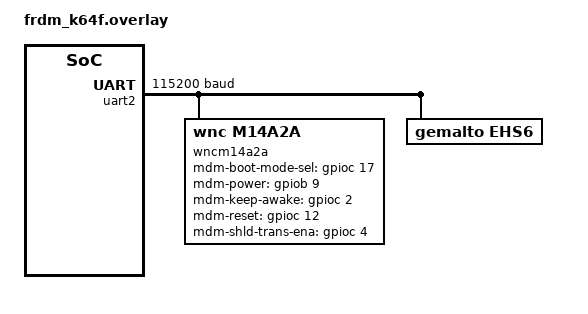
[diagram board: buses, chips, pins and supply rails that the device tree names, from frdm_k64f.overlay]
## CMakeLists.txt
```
# SPDX-License-Identifier: Apache-2.0

cmake_minimum_required(VERSION 3.28.0)
find_package(Zephyr REQUIRED HINTS $ENV{ZEPHYR_BASE})
project(lwm2m_client)

FILE(GLOB app_sources src/*.c)
target_sources(app PRIVATE ${app_sources})

include(${ZEPHYR_BASE}/samples/net/common/common.cmake)
```

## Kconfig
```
# Private config options for LwM2M client sample

# Copyright (c) 2023 NordicNordic Semiconductor ASA
# SPDX-License-Identifier: Apache-2.0

mainmenu "LwM2M Client sample"

config NET_SAMPLE_LWM2M_ID
	string "LwM2M Client identity"
	default ""
	help
	  This is used as client endpoint name as well as PSK ID.
	  Leave empty for using CONFIG_BOARD

if LWM2M_DTLS_SUPPORT
config NET_SAMPLE_LWM2M_PSK
	string "PSK key"
	default "000102030405060708090a0b0c0d0e0f"
	help
	  PSK key as a hex string.
	  Maximum binary size is CONFIG_LWM2M_SECURITY_KEY_SIZE.

config NET_SAMPLE_LWM2M_TLS_TAG
	int "TLS security tag"
	default 1
	help
	  TLS security tag to use when connecting.
endif

config NET_SAMPLE_MIGHT_HAVE_INTERNET
	bool
	default y if (WIFI || MODEM)

config NET_SAMPLE_LWM2M_SERVER
	string "LwM2M server address"
	default "coap://leshan.eclipseprojects.io:5683" if (NET_SAMPLE_MIGHT_HAVE_INTERNET && !LWM2M_DTLS_SUPPORT)
	default "coaps://leshan.eclipseprojects.io:5684" if (NET_SAMPLE_MIGHT_HAVE_INTERNET && LWM2M_DTLS_SUPPORT)
	default "coap://192.0.2.2:5683" if !LWM2M_DTLS_SUPPORT
	default "coaps://192.0.2.2:5684" if (LWM2M_DTLS_SUPPORT && !LWM2M_RD_CLIENT_SUPPORT_BOOTSTRAP)
	default "coaps://192.0.2.2:5784" if (LWM2M_DTLS_SUPPORT && LWM2M_RD_CLIENT_SUPPORT_BOOTSTRAP)
	help
	  LwM2M server address. Write as a full URI including optional port number.
	  Only accepted protocols are "coap://" and "coaps://"
	  When DNS resolver is enabled, DNS domain names could be used as well.
	  When port number is missing, CONFIG_LWM2M_PEER_PORT is used instead.
	  IPv6 addresses must be enclosed in square brackets, for example "coap://[fd00::1]".

config NET_SAMPLE_LWM2M_WAIT_DNS
	bool "Wait DNS server addition before considering connection to be up"
	depends on (MODEM_HL7800 || MODEM_HL78XX) && !DNS_SERVER_IP_ADDRESSES
	help
	  Make sure we get DNS server addresses from the network
	  before considering the connection to be up.

config NET_SAMPLE_LWM2M_NTN_MODE
	bool "Enable NTN (Non-Terrestrial Network / Satellite) mode"
	depends on LWM2M_DTLS_SUPPORT
	help
	  Enable this option when using satellite/NTN connectivity.
	  NTN has very high latency (10-15+ seconds RTT), so this
	  option applies extended DTLS handshake timeout settings
	  to accommodate the latency.

if NET_SAMPLE_LWM2M_NTN_MODE

config NET_SAMPLE_LWM2M_NTN_DTLS_HANDSHAKE_TIMEOUT_MIN_MS
	int "NTN DTLS handshake min timeout (ms)"
	default 20000
	range 1000 600000
	help
	  Initial DTLS retransmission timeout in milliseconds for NTN mode.

config NET_SAMPLE_LWM2M_NTN_DTLS_HANDSHAKE_TIMEOUT_MAX_MS
	int "NTN DTLS handshake max timeout (ms)"
	default 120000
	range 1000 600000
	help
	  Maximum DTLS retransmission timeout in milliseconds for NTN mode.

endif

source "samples/net/common/Kconfig"
source "Kconfig.zephyr"
```

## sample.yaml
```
sample:
  description: TBD
  name: TBD
tests:
  sample.net.lwm2m_client:
    harness: net
    depends_on: netif
    platform_allow:
      - qemu_x86
      - frdm_k64f
      - pinnacle_100_dvk
      - mg100
      - native_sim
    integration_platforms:
      - qemu_x86
    tags:
      - net
      - lwm2m
  sample.net.lwm2m_client.all_objects:
    harness: net
    depends_on: netif
    platform_allow:
      - qemu_x86
      - native_sim
    integration_platforms:
      - qemu_x86
    tags:
      - net
      - lwm2m
    extra_configs:
      - CONFIG_LWM2M_CONN_MON_OBJ_SUPPORT=y
      - CONFIG_LWM2M_LOCATION_OBJ_SUPPORT=y
      - CONFIG_LWM2M_IPSO_ACCELEROMETER=y
      - CONFIG_LWM2M_IPSO_BUZZER=y
      - CONFIG_LWM2M_IPSO_ONOFF_SWITCH=y
      - CONFIG_LWM2M_IPSO_PUSH_BUTTON=y
      - CONFIG_LWM2M_IPSO_GENERIC_SENSOR=y
      - CONFIG_LWM2M_IPSO_HUMIDITY_SENSOR=y
      - CONFIG_LWM2M_IPSO_PRESSURE_SENSOR=y
  sample.net.lwm2m_client.dtls:
    harness: net
    depends_on: netif
    extra_args: EXTRA_CONF_FILE=overlay-dtls.conf
    platform_allow:
      - qemu_x86
      - frdm_k64f
      - pinnacle_100_dvk
      - mg100
      - native_sim
    integration_platforms:
      - qemu_x86
    tags:
      - net
      - lwm2m
  sample.net.lwm2m_client.dtls_cert:
    harness: net
    depends_on: netif
    extra_args: EXTRA_CONF_FILE=overlay-dtls-cert.conf
    platform_allow:
      - qemu_x86
      - native_sim
    integration_platforms:
      - qemu_x86
    tags:
      - net
      - lwm2m
  sample.net.lwm2m_client.queue_mode:
    harness: net
    depends_on: netif
    extra_args: EXTRA_CONF_FILE=overlay-queue.conf
    platform_allow:
      - qemu_x86
      - native_sim
    integration_platforms:
      - qemu_x86
    tags:
      - net
      - lwm2m
  sample.net.lwm2m_client.data_cache:
    harness: net
    depends_on: netif
    extra_args: EXTRA_CONF_FILE=overlay-data-cache.conf
    platform_allow:
      - qemu_x86
      - native_sim
    integration_platforms:
      - qemu_x86
    tags:
      - net
      - lwm2m
  sample.net.lwm2m_client.send_scheduler:
    harness: net
    depends_on: netif
    extra_args: EXTRA_CONF_FILE=overlay-send-scheduler.conf
    platform_allow:
      - qemu_x86
      - native_sim
    integration_platforms:
      - qemu_x86
    tags:
      - net
      - lwm2m
  sample.net.lwm2m_client.wnc_m14a2a:
    harness: net
    extra_args: SHIELD=wnc_m14a2a
    platform_allow:
      - frdm_k64f
      - nrf52840dk/nrf52840
    integration_platforms:
      - frdm_k64f
    tags:
      - net
      - lwm2m
```

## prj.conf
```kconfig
CONFIG_NETWORKING=y
CONFIG_LOG=y
CONFIG_GPIO=y
CONFIG_LWM2M_LOG_LEVEL_DBG=y
CONFIG_TEST_RANDOM_GENERATOR=y
CONFIG_NET_IPV6=y
CONFIG_NET_IF_UNICAST_IPV6_ADDR_COUNT=3
CONFIG_NET_IF_MCAST_IPV6_ADDR_COUNT=3
CONFIG_NET_IPV4=y
CONFIG_NET_DHCPV4=n
CONFIG_NET_IF_UNICAST_IPV4_ADDR_COUNT=3
CONFIG_NET_IF_MCAST_IPV4_ADDR_COUNT=2
CONFIG_PRINTK=y
CONFIG_NET_PKT_RX_COUNT=10
CONFIG_NET_PKT_TX_COUNT=10
CONFIG_NET_BUF_RX_COUNT=10
CONFIG_NET_BUF_TX_COUNT=10
CONFIG_NET_MAX_CONTEXTS=5

CONFIG_NET_LOG=y

CONFIG_NET_CONFIG_NEED_IPV6=y
CONFIG_NET_CONFIG_NEED_IPV4=y
CONFIG_NET_CONFIG_SETTINGS=y

CONFIG_LWM2M=y
CONFIG_LWM2M_COAP_BLOCK_SIZE=512
CONFIG_LWM2M_IPSO_SUPPORT=y
CONFIG_LWM2M_IPSO_TEMP_SENSOR=y
CONFIG_LWM2M_IPSO_LIGHT_CONTROL=y
CONFIG_LWM2M_IPSO_TIMER=y
CONFIG_LWM2M_SHELL=y

CONFIG_NET_CONFIG_MY_IPV6_ADDR="2001:db8::1"
CONFIG_NET_CONFIG_PEER_IPV6_ADDR="2001:db8::2"
CONFIG_NET_CONFIG_MY_IPV4_ADDR="192.0.2.1"
CONFIG_NET_CONFIG_MY_IPV4_GW="192.0.2.2"

# Longer endpoint name might be returned in a registration reply
CONFIG_COAP_EXTENDED_OPTIONS_LEN=y
CONFIG_COAP_EXTENDED_OPTIONS_LEN_VALUE=40
```

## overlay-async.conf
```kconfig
CONFIG_LWM2M_ASYNC_RESPONSES=y
CONFIG_LWM2M_IPSO_GENERIC_SENSOR=y
```

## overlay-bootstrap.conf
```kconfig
CONFIG_LWM2M_RD_CLIENT_SUPPORT_BOOTSTRAP=y
```

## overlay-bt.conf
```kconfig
CONFIG_BT=y
CONFIG_LOG=y
CONFIG_BT_SMP=y
CONFIG_BT_PERIPHERAL=y
CONFIG_BT_CENTRAL=y
CONFIG_BT_L2CAP_DYNAMIC_CHANNEL=y
CONFIG_BT_DEVICE_NAME="LwM2M IPSP node"
CONFIG_NET_L2_BT=y
CONFIG_NET_CONFIG_BT_NODE=y

# raise bluetooth RX buffer settings for 6lowpan traffic
CONFIG_BT_BUF_ACL_RX_COUNT=20
CONFIG_BT_BUF_ACL_RX_SIZE=124
```

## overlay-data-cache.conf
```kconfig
CONFIG_ZCBOR=y
CONFIG_ZCBOR_CANONICAL=y
CONFIG_LWM2M_RW_SENML_CBOR_SUPPORT=y
CONFIG_LWM2M_RESOURCE_DATA_CACHE_SUPPORT=y
```

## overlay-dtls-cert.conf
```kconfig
CONFIG_LWM2M_DTLS_SUPPORT=y
CONFIG_LWM2M_PEER_PORT=5684

# I need room to store certificates
CONFIG_LWM2M_SECURITY_KEY_SIZE=2048

# Select Zephyr mbedtls
CONFIG_MBEDTLS=y
CONFIG_MBEDTLS_SSL_PROTO_TLS1_2=y

# Special MbedTLS changes
CONFIG_MBEDTLS_ENABLE_HEAP=y
CONFIG_MBEDTLS_HEAP_SIZE=32768
CONFIG_MBEDTLS_SSL_IN_CONTENT_LEN=1500
CONFIG_MBEDTLS_SSL_OUT_CONTENT_LEN=1500
CONFIG_PSA_WANT_KEY_TYPE_AES=y
CONFIG_PSA_WANT_ALG_CCM=y
CONFIG_PSA_WANT_ALG_GCM=y

# Disable RSA, use only ECC certificates
CONFIG_MBEDTLS_CIPHERSUITE_TLS_ECDHE_ECDSA_WITH_AES_128_GCM_SHA256=y
CONFIG_MBEDTLS_CIPHERSUITE_TLS_PSK_WITH_AES_128_GCM_SHA256=y

# Optional: we could use just binary DER certificates
CONFIG_MBEDTLS_PEM_PARSE_C=y
CONFIG_MBEDTLS_PEM_WRITE_C=y

CONFIG_NET_SOCKETS_SOCKOPT_TLS=y
CONFIG_NET_SOCKETS_TLS_MAX_CONTEXTS=4
CONFIG_NET_SOCKETS_ENABLE_DTLS=y

# MbedTLS needs a larger stack
CONFIG_MAIN_STACK_SIZE=2048
CONFIG_SYSTEM_WORKQUEUE_STACK_SIZE=2048
```

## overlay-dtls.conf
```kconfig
# Enable DTLS with Connection Identifier
CONFIG_LWM2M_DTLS_SUPPORT=y
CONFIG_LWM2M_DTLS_CID=y
CONFIG_LWM2M_PEER_PORT=5684

# Select Zephyr mbedtls
CONFIG_MBEDTLS=y
CONFIG_MBEDTLS_SSL_PROTO_TLS1_2=y
CONFIG_MBEDTLS_SSL_DTLS_CONNECTION_ID=y

# Special MbedTLS changes
CONFIG_MBEDTLS_ENABLE_HEAP=y
CONFIG_MBEDTLS_HEAP_SIZE=8192
CONFIG_MBEDTLS_SSL_IN_CONTENT_LEN=1500
CONFIG_MBEDTLS_SSL_OUT_CONTENT_LEN=1500
# PSA Crypto support for CCM
CONFIG_PSA_WANT_ALG_CCM=y
CONFIG_MBEDTLS_CIPHERSUITE_TLS_PSK_WITH_AES_128_GCM_SHA256=y

CONFIG_NET_SOCKETS_SOCKOPT_TLS=y
CONFIG_NET_SOCKETS_TLS_MAX_CONTEXTS=4
CONFIG_NET_SOCKETS_ENABLE_DTLS=y

# MbedTLS needs a larger stack
CONFIG_MAIN_STACK_SIZE=2048
CONFIG_SYSTEM_WORKQUEUE_STACK_SIZE=2048

# This has to be match length of LWM2M_APP_ID and if LWM2M_APP_ID is empty,
# then this has to be match length of CONFIG_BOARD. Default 16 is not enough
# for some boards, so, increase it to 32.
CONFIG_LWM2M_SECURITY_KEY_SIZE=32

# Debug options
# CONFIG_NET_SOCKETS_LOG_LEVEL_DBG=y
# CONFIG_MBEDTLS_DEBUG=y
# CONFIG_MBEDTLS_LOG_LEVEL_DBG=y
# CONFIG_MBEDTLS_MEMORY_DEBUG=y
# CONFIG_MBEDTLS_SHELL=y
```

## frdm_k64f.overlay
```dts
/*
 * Copyright (c) 2018 Intel Corporation
 *
 * SPDX-License-Identifier: Apache-2.0
 */
&uart2 {
	current-speed = <115200>;
	hw-flow-control;
	status = "ok";

	wncm14a2a {
		compatible = "wnc,m14a2a";
		label = "wncm14a2a";
		mdm-boot-mode-sel-gpios = <&gpioc 17 0>;
		mdm-power-gpios = <&gpiob 9 0>;
		mdm-keep-awake-gpios = <&gpioc 2 0>;
		mdm-reset-gpios = <&gpioc 12 0>;
		mdm-shld-trans-ena-gpios = <&gpioc 4 0>;
		status = "ok";
	};

	ehs6 {
		compatible = "gemalto,ehs6";
		label = "EHS6";
		status = "ok";
	};
};
```

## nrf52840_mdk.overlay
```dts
/*
 * Copyright (c) 2018 Linaro Limited
 *
 * SPDX-License-Identifier: Apache-2.0
 */

&uart1 {
	current-speed = <115200>;
	status = "ok";
	tx-pin = <16>;
	rx-pin = <15>;
	rts-pin = <14>;
	cts-pin = <17>;

	wncm14a2a {
		compatible = "wnc,m14a2a";
		label = "wncm14a2a";
		mdm-boot-mode-sel-gpios = <&gpio1 2 0>;
		mdm-power-gpios = <&gpio1 3 0>;
		mdm-keep-awake-gpios = <&gpio1 7 0>;
		mdm-reset-gpios = <&gpio1 10 0>;
		mdm-shld-trans-ena-gpios = <&gpio1 11 0>;
		status = "ok";
	};
};
```

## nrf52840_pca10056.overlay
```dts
/*
 * Copyright (c) 2018 Linaro Limited
 *
 * SPDX-License-Identifier: Apache-2.0
 */

&uart1 {
	current-speed = <115200>;
	status = "ok";
	tx-pin = <46>;
	rx-pin = <45>;
	rts-pin = <44>;
	cts-pin = <47>;

	wncm14a2a {
		compatible = "wnc,m14a2a";
		label = "wncm14a2a";
		mdm-boot-mode-sel-gpios = <&gpio1 2 0>;
		mdm-power-gpios = <&gpio1 3 0>;
		mdm-keep-awake-gpios = <&gpio1 7 0>;
		mdm-reset-gpios = <&gpio1 10 0>;
		mdm-shld-trans-ena-gpios = <&gpio1 11 0>;
		status = "ok";
	};
};
```

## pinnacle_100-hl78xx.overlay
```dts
/delete-node/ &hl7800;

/ {
	aliases {
		modem-uart = &uart1;
		modem = &hl7800;
		gnss = &gnss;
	};
};

&uart1 {
	hl7800: hl7800 {
		compatible = "swir,hl7800";
		mdm-reset-gpios = <&gpio1 15 (GPIO_OPEN_DRAIN | GPIO_ACTIVE_LOW)>;
		mdm-wake-gpios = <&gpio1 13 (GPIO_OPEN_SOURCE | GPIO_ACTIVE_HIGH)>;
		mdm-pwr-on-gpios = <&gpio1 2 (GPIO_OPEN_DRAIN | GPIO_ACTIVE_LOW)>;
		mdm-fast-shutd-gpios = <&gpio1 14 (GPIO_OPEN_DRAIN | GPIO_ACTIVE_LOW)>;
		mdm-vgpio-gpios = <&gpio1 11 0>;
		mdm-uart-dsr-gpios = <&gpio0 25 0>;
		mdm-uart-cts-gpios = <&gpio0 15 0>;
		mdm-gpio6-gpios = <&gpio1 12 0>;
		status = "okay";

		socket_offload: socket_offload {
			compatible = "swir,hl7812-offload";
			/* optional properties for future: */
			max-data-length = <512>;
			status = "okay";
		};

		gnss: hl_gnss {
			compatible = "swir,hl7812-gnss";
			pps-mode = "GNSS_PPS_MODE_DISABLED";
			fix-rate = <1000>;
			status = "disabled";
		};
	};
};
```

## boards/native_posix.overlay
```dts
/*
 * Copyright (c) 2019 Jan Van Winkel <jan.van_winkel@dxplore.eu>
 *
 * SPDX-License-Identifier: Apache-2.0
 */

&flash0 {

	partitions {
		compatible = "fixed-partitions";
		#address-cells = <1>;
		#size-cells = <1>;

		lwm2m_notif_storage: partition@100000 {
			label = "lwm2m_notif_storage";
			reg = <0x00100000 0x10000>;
		};
	};
};
```

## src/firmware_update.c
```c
/*
 * Copyright (c) 2022 Nordic Semiconductor
 *
 * SPDX-License-Identifier: Apache-2.0
 */

#define LOG_MODULE_NAME app_fw_update
#include <zephyr/logging/log.h>
LOG_MODULE_REGISTER(LOG_MODULE_NAME);

#include <zephyr/net/lwm2m.h>
#include "modules.h"

static uint8_t firmware_buf[64];

/* Array with supported PULL firmware update protocols */
static uint8_t supported_protocol[1];

static int firmware_update_cb(uint16_t obj_inst_id,
			      uint8_t *args, uint16_t args_len)
{
	LOG_DBG("UPDATE");

	/* TODO: kick off update process */

	/* If success, set the update result as RESULT_SUCCESS.
	 * In reality, it should be set at function lwm2m_setup()
	 */
	lwm2m_set_u8(&LWM2M_OBJ(5, 0, 3), STATE_IDLE);
	lwm2m_set_u8(&LWM2M_OBJ(5, 0, 5), RESULT_SUCCESS);
	return 0;
}

static void *firmware_get_buf(uint16_t obj_inst_id, uint16_t res_id,
			      uint16_t res_inst_id, size_t *data_len)
{
	*data_len = sizeof(firmware_buf);
	return firmware_buf;
}

static int firmware_block_received_cb(uint16_t obj_inst_id, uint16_t res_id,
				      uint16_t res_inst_id, uint8_t *data,
				      uint16_t data_len, bool last_block,
				      size_t total_size, size_t offset)
{
	LOG_INF("FIRMWARE: BLOCK RECEIVED: offset:%zd len:%u last_block:%d",
		offset, data_len, last_block);
	return 0;
}

static int firmware_cancel_cb(const uint16_t obj_inst_id)
{
	LOG_INF("FIRMWARE: Update canceled");
	return 0;
}

void init_firmware_update(void)
{
	/* setup data buffer for block-wise transfer */
	lwm2m_register_pre_write_callback(&LWM2M_OBJ(5, 0, 0), firmware_get_buf);
	lwm2m_firmware_set_write_cb(firmware_block_received_cb);

	/* register cancel callback */
	lwm2m_firmware_set_cancel_cb(firmware_cancel_cb);

	if (IS_ENABLED(CONFIG_LWM2M_FIRMWARE_UPDATE_PULL_SUPPORT)) {
		lwm2m_create_res_inst(&LWM2M_OBJ(5, 0, 8, 0));
		lwm2m_set_res_buf(&LWM2M_OBJ(5, 0, 8, 0), &supported_protocol[0],
					 sizeof(supported_protocol[0]),
					 sizeof(supported_protocol[0]), 0);

		lwm2m_firmware_set_update_cb(firmware_update_cb);
	}
}
```

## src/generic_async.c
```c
/*
 * Copyright (c) 2025 Nordic Semiconductor
 *
 * SPDX-License-Identifier: Apache-2.0
 */

#define LOG_MODULE_NAME app_generic_async
#include <zephyr/logging/log.h>
LOG_MODULE_REGISTER(LOG_MODULE_NAME);

#include "modules.h"

#include <lwm2m_resource_ids.h>
#include <lwm2m_observation.h>
#include <zephyr/net/lwm2m.h>

#if defined(CONFIG_LWM2M_ASYNC_RESPONSES)

/* Dummy generic sensor instance demonstrating asynchronous operations. */

static struct k_work_delayable delayed_exec_work;
static struct k_work_delayable delayed_read_work;
static struct k_work_delayable delayed_write_work;
static struct k_work_delayable notify_trigger_work;

static double sensor_value;
static int64_t value_timestamp;

static void update_sensor_value(void)
{
	static double step = 1.0;

	sensor_value += step;

	if (sensor_value >= 100.0) {
		step = -1.0;
	}

	if (sensor_value <= 0.0) {
		step = 1.0;
	}

	value_timestamp = k_uptime_get();

	lwm2m_set_f64(&LWM2M_OBJ(IPSO_OBJECT_GENERIC_SENSOR_ID, 0,
				 SENSOR_VALUE_RID), sensor_value);
}

/* Asynchronous read example */

static struct k_fifo pending_reads;

static void *value_read_cb(uint16_t obj_inst_id,
			   uint16_t res_id,
			   uint16_t res_inst_id,
			   size_t *data_len)
{
	static void *value_ctx;

	ARG_UNUSED(obj_inst_id);
	ARG_UNUSED(res_id);
	ARG_UNUSED(res_inst_id);
	ARG_UNUSED(data_len);

	/* Assume data is valid for 1 second after update */
	if (value_timestamp != 0 && k_uptime_get() < value_timestamp + 1000) {
		goto got_data;
	}

	/* Simulate delayed sensor read. */
	k_work_schedule(&delayed_read_work, K_SECONDS(2));

	value_ctx = lwm2m_response_postpone(lwm2m_rd_client_ctx());
	if (value_ctx == NULL) {
		LOG_INF("Engine rejected postponed response request, block.");
		goto wait_data;
	}

	if (k_fifo_alloc_put(&pending_reads, value_ctx) < 0) {
		(void)lwm2m_response_resume(lwm2m_rd_client_ctx(), value_ctx, -ENOMEM);
	}

	return NULL;

wait_data:
	lwm2m_acknowledge(lwm2m_rd_client_ctx());
	k_sleep(K_SECONDS(2));
	update_sensor_value();

got_data:
	*data_len = sizeof(sensor_value);

	return &sensor_value;
}

static void delayed_read_cb(struct k_work *work)
{
	void *value_ctx;
	int ret;

	ARG_UNUSED(work);

	update_sensor_value();

	/* Resume pending reads. */
	while ((value_ctx = k_fifo_get(&pending_reads, K_NO_WAIT)) != NULL) {
		ret = lwm2m_response_resume(lwm2m_rd_client_ctx(), value_ctx, 0);
		if (ret < 0) {
			LOG_INF("Resuming delayed read failed %d", ret);
		}
	}
}

/* Asynchronous write example */

static void *app_type_ctx;

static int app_type_validate_cb(uint16_t obj_inst_id, uint16_t res_id,
				uint16_t res_inst_id, uint8_t *data,
				uint16_t data_len, bool last_block,
				size_t total_size, size_t offset)
{
	ARG_UNUSED(obj_inst_id);
	ARG_UNUSED(res_id);
	ARG_UNUSED(res_inst_id);
	ARG_UNUSED(data);
	ARG_UNUSED(data_len);
	ARG_UNUSED(last_block);
	ARG_UNUSED(total_size);
	ARG_UNUSED(offset);

	/* In case another write is already pending, return an error. */
	if (app_type_ctx != NULL) {
		return -ECANCELED;
	}

	return 0;
}

int app_type_post_write_cb(uint16_t obj_inst_id, uint16_t res_id,
			   uint16_t res_inst_id, uint8_t *data,
			   uint16_t data_len, bool last_block,
			   size_t total_size, size_t offset)
{
	ARG_UNUSED(obj_inst_id);
	ARG_UNUSED(res_id);
	ARG_UNUSED(res_inst_id);
	ARG_UNUSED(data);
	ARG_UNUSED(data_len);
	ARG_UNUSED(last_block);
	ARG_UNUSED(total_size);
	ARG_UNUSED(offset);

	/* In case another write is already pending, return an error. */
	if (app_type_ctx != NULL) {
		return -ECANCELED;
	}

	app_type_ctx = lwm2m_response_postpone(lwm2m_rd_client_ctx());
	if (app_type_ctx != NULL) {
		/* Simulate delayed write processing. */
		k_work_schedule(&delayed_write_work, K_SECONDS(2));
	} else {
		LOG_INF("Engine rejected postponed response request, block.");

		/* Simulate delayed write processing. */
		lwm2m_acknowledge(lwm2m_rd_client_ctx());
		k_sleep(K_SECONDS(2));
	}

	return 0;
}

static void delayed_write_cb(struct k_work *work)
{
	int ret;

	ARG_UNUSED(work);

	if (app_type_ctx == NULL) {
		return;
	}

	ret = lwm2m_response_resume(lwm2m_rd_client_ctx(), app_type_ctx, 0);
	if (ret < 0) {
		LOG_INF("Resuming delayed write failed %d", ret);
	}

	app_type_ctx = NULL;
}

/* Asynchronous exec example */

static void *min_max_reset_ctx;

static void min_max_reset(void)
{
	lwm2m_set_f64(&LWM2M_OBJ(IPSO_OBJECT_GENERIC_SENSOR_ID, 0,
				 MIN_MEASURED_VALUE_RID), sensor_value);
	lwm2m_set_f64(&LWM2M_OBJ(IPSO_OBJECT_GENERIC_SENSOR_ID, 0,
				 MAX_MEASURED_VALUE_RID), sensor_value);
}

static int min_max_reset_exec_cb(uint16_t obj_inst_id, uint8_t *args,
				 uint16_t args_len)
{
	ARG_UNUSED(obj_inst_id);
	ARG_UNUSED(args);
	ARG_UNUSED(args_len);

	/* In case another exec is already pending, return an error. */
	if (min_max_reset_ctx != NULL) {
		return -ECANCELED;
	}

	min_max_reset_ctx = lwm2m_response_postpone(lwm2m_rd_client_ctx());
	if (min_max_reset_ctx != NULL) {
		/* Simulate delayed exec processing. */
		k_work_schedule(&delayed_exec_work, K_SECONDS(2));
	} else {
		LOG_INF("Engine rejected postponed response request, block.");

		/* Simulate delayed exec processing. */
		lwm2m_acknowledge(lwm2m_rd_client_ctx());
		k_sleep(K_SECONDS(2));
		min_max_reset();
	}

	return 0;
}

static void delayed_exec_cb(struct k_work *work)
{
	int ret;

	ARG_UNUSED(work);

	if (min_max_reset_ctx == NULL) {
		return;
	}

	min_max_reset();

	ret = lwm2m_response_resume(lwm2m_rd_client_ctx(), min_max_reset_ctx, 0);
	if (ret < 0) {
		LOG_INF("Resuming delayed exec failed %d", ret);
	}

	min_max_reset_ctx = NULL;
}

/* Trigger notification every 10s if observed. */
static void notify_trigger_cb(struct k_work *work)
{
	lwm2m_notify_observer(IPSO_OBJECT_GENERIC_SENSOR_ID, 0, SENSOR_VALUE_RID);

	k_work_reschedule(&notify_trigger_work, K_SECONDS(10));
}

void init_generic_async_object(void)
{
	lwm2m_create_object_inst(&LWM2M_OBJ(IPSO_OBJECT_GENERIC_SENSOR_ID, 0));

	lwm2m_register_read_callback(&LWM2M_OBJ(IPSO_OBJECT_GENERIC_SENSOR_ID,
						0, SENSOR_VALUE_RID),
				     value_read_cb);

	lwm2m_register_validate_callback(&LWM2M_OBJ(IPSO_OBJECT_GENERIC_SENSOR_ID,
						    0, APPLICATION_TYPE_RID),
					 app_type_validate_cb);
	lwm2m_register_post_write_callback(&LWM2M_OBJ(IPSO_OBJECT_GENERIC_SENSOR_ID,
						      0, APPLICATION_TYPE_RID),
					   app_type_post_write_cb);

	lwm2m_register_exec_callback(&LWM2M_OBJ(IPSO_OBJECT_GENERIC_SENSOR_ID, 0,
						RESET_MIN_MAX_MEASURED_VALUES_RID),
				     min_max_reset_exec_cb);

	k_work_init_delayable(&delayed_exec_work, delayed_exec_cb);
	k_work_init_delayable(&delayed_read_work, delayed_read_cb);
	k_work_init_delayable(&delayed_write_work, delayed_write_cb);
	k_work_init_delayable(&notify_trigger_work, notify_trigger_cb);
	k_fifo_init(&pending_reads);

	k_work_reschedule(&notify_trigger_work, K_SECONDS(10));
}

#endif /* defined(CONFIG_LWM2M_ASYNC_RESPONSES) */
```

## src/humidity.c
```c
/*
 * Copyright (c) 2025 Clunky Machines
 *
 * SPDX-License-Identifier: Apache-2.0
 */

#if defined(CONFIG_LWM2M_IPSO_HUMIDITY_SENSOR)

#define LOG_MODULE_NAME app_humidity
#include <zephyr/logging/log.h>
LOG_MODULE_REGISTER(LOG_MODULE_NAME);

#include "modules.h"

#include <zephyr/kernel.h>
#include <zephyr/net/lwm2m.h>
#include <zephyr/net/lwm2m_send_scheduler.h>
#include <zephyr/random/random.h>
#include <stdint.h>

static struct k_work_delayable humidity_work;
#define HUMIDITY_PERIOD K_MINUTES(2)

static struct lwm2m_time_series_elem humidity_cache[8];

static void humidity_work_cb(struct k_work *work)
{
	double v;

	v = 40.0 + (double)sys_rand32_get() / UINT32_MAX * 20.0;

	lwm2m_set_f64(&LWM2M_OBJ(3304, 0, 5700), v);

	k_work_schedule(&humidity_work, HUMIDITY_PERIOD);
}

void init_humidity_sensor(void)
{
	if (lwm2m_create_object_inst(&LWM2M_OBJ(3304, 0)) == 0) {
		if (IS_ENABLED(CONFIG_LWM2M_RESOURCE_DATA_CACHE_SUPPORT)) {
			int ret;

			ret = lwm2m_enable_cache(&LWM2M_OBJ(3304, 0, 5700), humidity_cache,
						 ARRAY_SIZE(humidity_cache));
			if (ret < 0) {
				LOG_WRN("Failed to enable cache for humidity sensor (%d)", ret);
			}

			if (IS_ENABLED(CONFIG_LWM2M_SEND_SCHEDULER)) {
				lwm2m_set_cache_filter(&LWM2M_OBJ(3304, 0, 5700),
						       lwm2m_send_sched_cache_filter);
			}
		}

		k_work_init_delayable(&humidity_work, humidity_work_cb);
		k_work_schedule(&humidity_work, K_NO_WAIT);
	}
}

#endif /* CONFIG_LWM2M_IPSO_HUMIDITY_SENSOR */
```

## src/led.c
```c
/*
 * Copyright (c) 2022 Nordic Semiconductor
 *
 * SPDX-License-Identifier: Apache-2.0
 */

#define LOG_MODULE_NAME app_led

#include <zephyr/logging/log.h>
LOG_MODULE_REGISTER(LOG_MODULE_NAME);

#include "modules.h"

#include <zephyr/drivers/gpio.h>
#include <zephyr/net/lwm2m.h>

#define LIGHT_NAME "Test light"

/* If led0 gpios doesn't exist the relevant IPSO object will simply not be created. */
static const struct gpio_dt_spec led_gpio = GPIO_DT_SPEC_GET_OR(DT_ALIAS(led0), gpios, {});
static uint32_t led_state;

/* TODO: Move to a pre write hook that can handle ret codes once available */
static int led_on_off_cb(uint16_t obj_inst_id, uint16_t res_id, uint16_t res_inst_id, uint8_t *data,
			 uint16_t data_len, bool last_block, size_t total_size, size_t offset)
{
	int ret = 0;
	uint32_t led_val;

	led_val = *(uint8_t *)data;
	if (led_val != led_state) {
		ret = gpio_pin_set_dt(&led_gpio, (int)led_val);
		if (ret) {
			/*
			 * We need an extra hook in LwM2M to better handle
			 * failures before writing the data value and not in
			 * post_write_cb, as there is not much that can be
			 * done here.
			 */
			LOG_ERR("Fail to write to GPIO %d", led_gpio.pin);
			return ret;
		}

		led_state = led_val;
		/* TODO: Move to be set by an internal post write function */
		lwm2m_set_s32(&LWM2M_OBJ(3311, 0, 5852), 0);
	}

	return ret;
}

int init_led_device(void)
{
	int ret;

	if (!gpio_is_ready_dt(&led_gpio)) {
		return -ENODEV;
	}

	ret = gpio_pin_configure_dt(&led_gpio, GPIO_OUTPUT_INACTIVE);
	if (ret) {
		return ret;
	}

	lwm2m_create_object_inst(&LWM2M_OBJ(3311, 0));
	lwm2m_register_post_write_callback(&LWM2M_OBJ(3311, 0, 5850), led_on_off_cb);
	lwm2m_set_res_buf(&LWM2M_OBJ(3311, 0, 5750), LIGHT_NAME, sizeof(LIGHT_NAME),
			  sizeof(LIGHT_NAME), LWM2M_RES_DATA_FLAG_RO);

	return 0;
}
```

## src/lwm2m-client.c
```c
/*
 * Copyright (c) 2017 Linaro Limited
 * Copyright (c) 2017-2019 Foundries.io
 *
 * SPDX-License-Identifier: Apache-2.0
 */

#define LOG_MODULE_NAME net_lwm2m_client_app
#define LOG_LEVEL LOG_LEVEL_DBG

#include <zephyr/logging/log.h>
LOG_MODULE_REGISTER(LOG_MODULE_NAME);

#include <zephyr/drivers/hwinfo.h>
#include <zephyr/kernel.h>
#include <zephyr/drivers/sensor.h>
#include <zephyr/net/lwm2m.h>
#include <zephyr/net/lwm2m_send_scheduler.h>
#include <zephyr/net/conn_mgr_monitor.h>
#include <zephyr/net/conn_mgr_connectivity.h>
#include "modules.h"
#include "lwm2m_resource_ids.h"
/* NTN (Non-Terrestrial Network) has high latency (~10-15 sec RTT)
 * Increase DTLS handshake timeouts accordingly
 */
#if defined(CONFIG_NET_SAMPLE_LWM2M_NTN_MODE)
#include <zephyr/net/socket.h>

#define NTN_DTLS_HANDSHAKE_TIMEOUT_MIN  CONFIG_NET_SAMPLE_LWM2M_NTN_DTLS_HANDSHAKE_TIMEOUT_MIN_MS
#define NTN_DTLS_HANDSHAKE_TIMEOUT_MAX  CONFIG_NET_SAMPLE_LWM2M_NTN_DTLS_HANDSHAKE_TIMEOUT_MAX_MS
#endif
#define APP_BANNER "Run LwM2M client"

#define WAIT_TIME	K_SECONDS(10)
#define CONNECT_TIME	K_SECONDS(10)

#define CLIENT_MANUFACTURER	"Zephyr"
#define CLIENT_MODEL_NUMBER	"OMA-LwM2M Sample Client"
#define CLIENT_SERIAL_NUMBER	"345000123"
#define CLIENT_FIRMWARE_VER	"1.0"
#define CLIENT_HW_VER		"1.0.1"
#define TEMP_SENSOR_UNITS       "Celsius"

/* Macros used to subscribe to specific Zephyr NET management events. */
#if defined(CONFIG_NET_SAMPLE_LWM2M_WAIT_DNS)
#define L4_EVENT_MASK (NET_EVENT_DNS_SERVER_ADD | NET_EVENT_L4_DISCONNECTED)
#else
#define L4_EVENT_MASK (NET_EVENT_L4_CONNECTED | NET_EVENT_L4_DISCONNECTED)
#endif
#define CONN_LAYER_EVENT_MASK (NET_EVENT_CONN_IF_FATAL_ERROR)

static uint8_t bat_idx = LWM2M_DEVICE_PWR_SRC_TYPE_BAT_INT;
static int bat_mv = 3800;
static int bat_ma = 125;
static uint8_t usb_idx = LWM2M_DEVICE_PWR_SRC_TYPE_USB;
static int usb_mv = 5000;
static int usb_ma = 900;
static uint8_t bat_level = 95;
static uint8_t bat_status = LWM2M_DEVICE_BATTERY_STATUS_CHARGING;
static int mem_free = 15;
static int mem_total = 25;
static double min_range = 0.0;
static double max_range = 100;
#if defined(CONFIG_LWM2M_IPSO_HUMIDITY_SENSOR)
static double humidity_min_range = 0.0;
static double humidity_max_range = 100.0;
#endif

static struct lwm2m_ctx client_ctx;

static const char *endpoint =
	(sizeof(CONFIG_NET_SAMPLE_LWM2M_ID) > 1 ? CONFIG_NET_SAMPLE_LWM2M_ID : CONFIG_BOARD);

#if defined(CONFIG_LWM2M_DTLS_SUPPORT)
BUILD_ASSERT(sizeof(endpoint) <= CONFIG_LWM2M_SECURITY_KEY_SIZE,
		"Client ID length is too long");
#endif /* CONFIG_LWM2M_DTLS_SUPPORT */

static struct k_sem quit_lock;

/* Zephyr NET management event callback structures. */
static struct net_mgmt_event_callback l4_cb;
static struct net_mgmt_event_callback conn_cb;

static K_SEM_DEFINE(network_connected_sem, 0, 1);

static int device_reboot_cb(uint16_t obj_inst_id,
			    uint8_t *args, uint16_t args_len)
{
	LOG_INF("DEVICE: REBOOT");
	/* Add an error for testing */
	lwm2m_device_add_err(LWM2M_DEVICE_ERROR_LOW_POWER);
	/* Change the battery voltage for testing */
	lwm2m_set_s32(&LWM2M_OBJ(3, 0, 7, 0), (bat_mv - 1));

	return 0;
}

static int device_factory_default_cb(uint16_t obj_inst_id,
				     uint8_t *args, uint16_t args_len)
{
	LOG_INF("DEVICE: FACTORY DEFAULT");
	/* Add an error for testing */
	lwm2m_device_add_err(LWM2M_DEVICE_ERROR_GPS_FAILURE);
	/* Change the USB current for testing */
	lwm2m_set_s32(&LWM2M_OBJ(3, 0, 8, 1), (usb_ma - 1));

	return 0;
}

static int lwm2m_setup(void)
{
	struct lwm2m_res_item temp_sensor_items[] = {
		{&LWM2M_OBJ(IPSO_OBJECT_TEMP_SENSOR_ID, 0, MIN_RANGE_VALUE_RID), &min_range,
		 sizeof(min_range)},
		{&LWM2M_OBJ(IPSO_OBJECT_TEMP_SENSOR_ID, 0, MAX_RANGE_VALUE_RID), &max_range,
		 sizeof(max_range)},
		{&LWM2M_OBJ(IPSO_OBJECT_TEMP_SENSOR_ID, 0, SENSOR_UNITS_RID), TEMP_SENSOR_UNITS,
		 sizeof(TEMP_SENSOR_UNITS)}
	};
	int err;

	/* setup SECURITY object */

	/* Server URL */
	lwm2m_set_string(&LWM2M_OBJ(0, 0, 0), CONFIG_NET_SAMPLE_LWM2M_SERVER);

	/* Security Mode */
	lwm2m_set_u8(&LWM2M_OBJ(0, 0, 2), IS_ENABLED(CONFIG_LWM2M_DTLS_SUPPORT) ? 0 : 3);
#if defined(CONFIG_LWM2M_DTLS_SUPPORT)
	lwm2m_set_string(&LWM2M_OBJ(0, 0, 3), endpoint);
	if (sizeof(CONFIG_NET_SAMPLE_LWM2M_PSK) > 1) {
		char psk[1 + sizeof(CONFIG_NET_SAMPLE_LWM2M_PSK) / 2];
		/* Need to skip the nul terminator from string */
		size_t len = hex2bin(CONFIG_NET_SAMPLE_LWM2M_PSK,
				     sizeof(CONFIG_NET_SAMPLE_LWM2M_PSK) - 1, psk, sizeof(psk));
		if (len <= 0) {
			return -EINVAL;
		}
		lwm2m_set_opaque(&LWM2M_OBJ(0, 0, 5), (void *)psk, len);
	}
#endif /* CONFIG_LWM2M_DTLS_SUPPORT */

#if defined(CONFIG_LWM2M_RD_CLIENT_SUPPORT_BOOTSTRAP)
	/* Mark 1st instance of security object as a bootstrap server */
	lwm2m_set_u8(&LWM2M_OBJ(0, 0, 1), 1);
#else
	/* Match Security object instance with a Server object instance with
	 * Short Server ID.
	 */
	lwm2m_set_u16(&LWM2M_OBJ(0, 0, 10), CONFIG_LWM2M_SERVER_DEFAULT_SSID);
	lwm2m_set_u16(&LWM2M_OBJ(1, 0, 0), CONFIG_LWM2M_SERVER_DEFAULT_SSID);
#endif

	/* setup SERVER object */

	/* setup DEVICE object */

	lwm2m_set_res_buf(&LWM2M_OBJ(3, 0, 0), CLIENT_MANUFACTURER, sizeof(CLIENT_MANUFACTURER),
			  sizeof(CLIENT_MANUFACTURER), LWM2M_RES_DATA_FLAG_RO);
	lwm2m_set_res_buf(&LWM2M_OBJ(3, 0, 1), CLIENT_MODEL_NUMBER, sizeof(CLIENT_MODEL_NUMBER),
			  sizeof(CLIENT_MODEL_NUMBER), LWM2M_RES_DATA_FLAG_RO);
	lwm2m_set_res_buf(&LWM2M_OBJ(3, 0, 2), CLIENT_SERIAL_NUMBER, sizeof(CLIENT_SERIAL_NUMBER),
			  sizeof(CLIENT_SERIAL_NUMBER), LWM2M_RES_DATA_FLAG_RO);
	lwm2m_set_res_buf(&LWM2M_OBJ(3, 0, 3), CLIENT_FIRMWARE_VER, sizeof(CLIENT_FIRMWARE_VER),
			  sizeof(CLIENT_FIRMWARE_VER), LWM2M_RES_DATA_FLAG_RO);
	lwm2m_register_exec_callback(&LWM2M_OBJ(3, 0, 4), device_reboot_cb);
	lwm2m_register_exec_callback(&LWM2M_OBJ(3, 0, 5), device_factory_default_cb);
	lwm2m_set_res_buf(&LWM2M_OBJ(3, 0, 9), &bat_level, sizeof(bat_level), sizeof(bat_level), 0);
	lwm2m_set_res_buf(&LWM2M_OBJ(3, 0, 10), &mem_free, sizeof(mem_free), sizeof(mem_free), 0);
	lwm2m_set_res_buf(&LWM2M_OBJ(3, 0, 17), CONFIG_BOARD, sizeof(CONFIG_BOARD),
			  sizeof(CONFIG_BOARD), LWM2M_RES_DATA_FLAG_RO);
	lwm2m_set_res_buf(&LWM2M_OBJ(3, 0, 18), CLIENT_HW_VER, sizeof(CLIENT_HW_VER),
			  sizeof(CLIENT_HW_VER), LWM2M_RES_DATA_FLAG_RO);
	lwm2m_set_res_buf(&LWM2M_OBJ(3, 0, 20), &bat_status, sizeof(bat_status),
			  sizeof(bat_status), 0);
	lwm2m_set_res_buf(&LWM2M_OBJ(3, 0, 21), &mem_total, sizeof(mem_total),
			  sizeof(mem_total), 0);

	/* add power source resource instances */
	lwm2m_create_res_inst(&LWM2M_OBJ(3, 0, 6, 0));
	lwm2m_set_res_buf(&LWM2M_OBJ(3, 0, 6, 0), &bat_idx, sizeof(bat_idx), sizeof(bat_idx), 0);
	lwm2m_create_res_inst(&LWM2M_OBJ(3, 0, 7, 0));
	lwm2m_set_res_buf(&LWM2M_OBJ(3, 0, 7, 0), &bat_mv, sizeof(bat_mv), sizeof(bat_mv), 0);
	lwm2m_create_res_inst(&LWM2M_OBJ(3, 0, 8, 0));
	lwm2m_set_res_buf(&LWM2M_OBJ(3, 0, 8, 0), &bat_ma, sizeof(bat_ma), sizeof(bat_ma), 0);
	lwm2m_create_res_inst(&LWM2M_OBJ(3, 0, 6, 1));
	lwm2m_set_res_buf(&LWM2M_OBJ(3, 0, 6, 1), &usb_idx, sizeof(usb_idx), sizeof(usb_idx), 0);
	lwm2m_create_res_inst(&LWM2M_OBJ(3, 0, 7, 1));
	lwm2m_set_res_buf(&LWM2M_OBJ(3, 0, 7, 1), &usb_mv, sizeof(usb_mv), sizeof(usb_mv), 0);
	lwm2m_create_res_inst(&LWM2M_OBJ(3, 0, 8, 1));
	lwm2m_set_res_buf(&LWM2M_OBJ(3, 0, 8, 1), &usb_ma, sizeof(usb_ma), sizeof(usb_ma), 0);

	/* setup FIRMWARE object */
	if (IS_ENABLED(CONFIG_LWM2M_FIRMWARE_UPDATE_OBJ_SUPPORT)) {
		init_firmware_update();
	}

	/* setup TEMP SENSOR object */
	init_temp_sensor();

#if defined(CONFIG_LWM2M_IPSO_HUMIDITY_SENSOR)
	/* setup HUMIDITY SENSOR object */
	init_humidity_sensor();

	/* setup HUMIDITY SENSOR resources */
	{
		struct lwm2m_res_item humidity_items[] = {
			{&LWM2M_OBJ(IPSO_OBJECT_HUMIDITY_SENSOR_ID, 0, MIN_RANGE_VALUE_RID),
			 &humidity_min_range, sizeof(humidity_min_range)},
			{&LWM2M_OBJ(IPSO_OBJECT_HUMIDITY_SENSOR_ID, 0, MAX_RANGE_VALUE_RID),
			 &humidity_max_range, sizeof(humidity_max_range)},
			{&LWM2M_OBJ(IPSO_OBJECT_HUMIDITY_SENSOR_ID, 0, SENSOR_UNITS_RID),
			 "Percent", sizeof("Percent")}
		};

		err = lwm2m_set_bulk(humidity_items, ARRAY_SIZE(humidity_items));
		if (err) {
			LOG_ERR("Failed to set HUMIDITY SENSOR resources");
			return err;
		}
	}
#endif

	/* Set multiple TEMP SENSOR resource values in one function call. */
	err = lwm2m_set_bulk(temp_sensor_items, ARRAY_SIZE(temp_sensor_items));

	if (err) {
		LOG_ERR("Failed to set TEMP SENSOR resources");
		return err;
	}

	/* IPSO: Light Control object */
	init_led_device();

	/* IPSO: Timer object */
	init_timer_object();

	return 0;
}

static void rd_client_event(struct lwm2m_ctx *client,
			    enum lwm2m_rd_client_event client_event)
{
	switch (client_event) {

	case LWM2M_RD_CLIENT_EVENT_NONE:
		/* do nothing */
		break;

	case LWM2M_RD_CLIENT_EVENT_SERVER_DISABLED:
		LOG_DBG("LwM2M server disabled");
		break;

	case LWM2M_RD_CLIENT_EVENT_BOOTSTRAP_REG_FAILURE:
		LOG_DBG("Bootstrap registration failure!");
		break;

	case LWM2M_RD_CLIENT_EVENT_BOOTSTRAP_REG_COMPLETE:
		LOG_DBG("Bootstrap registration complete");
		break;

	case LWM2M_RD_CLIENT_EVENT_BOOTSTRAP_TRANSFER_COMPLETE:
		LOG_DBG("Bootstrap transfer complete");
		break;

	case LWM2M_RD_CLIENT_EVENT_REGISTRATION_FAILURE:
		LOG_DBG("Registration failure!");
		break;

	case LWM2M_RD_CLIENT_EVENT_REGISTRATION_COMPLETE:
		LOG_DBG("Registration complete");
#if defined(CONFIG_LWM2M_SEND_SCHEDULER)
		lwm2m_send_sched_handle_registration_event();
#endif
		break;

	case LWM2M_RD_CLIENT_EVENT_REG_TIMEOUT:
		LOG_DBG("Registration timeout!");
		break;

	case LWM2M_RD_CLIENT_EVENT_REG_UPDATE_COMPLETE:
		LOG_DBG("Registration update complete");
#if defined(CONFIG_LWM2M_SEND_SCHEDULER)
		lwm2m_send_sched_handle_registration_event();
#endif
		break;

	case LWM2M_RD_CLIENT_EVENT_DEREGISTER_FAILURE:
		LOG_DBG("Deregister failure!");
		break;

	case LWM2M_RD_CLIENT_EVENT_DISCONNECT:
		LOG_DBG("Disconnected");
		break;

	case LWM2M_RD_CLIENT_EVENT_QUEUE_MODE_RX_OFF:
		LOG_DBG("Queue mode RX window closed");
		break;

	case LWM2M_RD_CLIENT_EVENT_ENGINE_SUSPENDED:
		LOG_DBG("LwM2M engine suspended");
		break;

	case LWM2M_RD_CLIENT_EVENT_NETWORK_ERROR:
		LOG_ERR("LwM2M engine reported a network error.");
		lwm2m_rd_client_stop(client, rd_client_event, true);
		break;

	case LWM2M_RD_CLIENT_EVENT_REG_UPDATE:
		LOG_DBG("Registration update");
		break;
	case LWM2M_RD_CLIENT_EVENT_DEREGISTER:
		LOG_DBG("Client De-register");
		break;
	}
}

static void socket_state(int fd, enum lwm2m_socket_states state)
{
	(void) fd;
	switch (state) {
	case LWM2M_SOCKET_STATE_ONGOING:
		LOG_DBG("LWM2M_SOCKET_STATE_ONGOING");
		break;
	case LWM2M_SOCKET_STATE_ONE_RESPONSE:
		LOG_DBG("LWM2M_SOCKET_STATE_ONE_RESPONSE");
		break;
	case LWM2M_SOCKET_STATE_LAST:
		LOG_DBG("LWM2M_SOCKET_STATE_LAST");
		break;
	case LWM2M_SOCKET_STATE_NO_DATA:
		LOG_DBG("LWM2M_SOCKET_STATE_NO_DATA");
		break;
	}
}

#if defined(CONFIG_NET_SAMPLE_LWM2M_NTN_MODE)
/**
 * @brief Set custom socket options for NTN (Non-Terrestrial Network) mode
 *
 * NTN connections have very high latency (10-15+ seconds RTT).
 * This callback increases DTLS handshake timeouts to accommodate satellite latency.
 */
static int set_socketoptions_for_ntn(struct lwm2m_ctx *ctx)
{
	int ret;
	uint32_t timeout_min = NTN_DTLS_HANDSHAKE_TIMEOUT_MIN;
	uint32_t timeout_max = NTN_DTLS_HANDSHAKE_TIMEOUT_MAX;
	uint32_t applied_min = 0U;
	uint32_t applied_max = 0U;
	net_socklen_t optlen = sizeof(uint32_t);

	if (timeout_min > timeout_max) {
		LOG_WRN("NTN DTLS timeout min (%u) > max (%u), swapping", timeout_min, timeout_max);
		uint32_t tmp = timeout_min;

		timeout_min = timeout_max;
		timeout_max = tmp;
	}

	LOG_INF("Setting NTN DTLS handshake timeouts: min=%u ms, max=%u ms", timeout_min,
		timeout_max);

	/* Apply regular LwM2M defaults first. */
	ret = lwm2m_set_default_sockopt(ctx);
	if (ret < 0) {
		return ret;
	}

	/* Set minimum DTLS handshake retransmission timeout */
	ret = zsock_setsockopt(ctx->sock_fd, ZSOCK_SOL_TLS, ZSOCK_TLS_DTLS_HANDSHAKE_TIMEOUT_MIN,
			       &timeout_min, sizeof(timeout_min));
	if (ret < 0) {
		LOG_WRN("Failed to set DTLS handshake min timeout (errno=%d)", errno);
		/* Continue anyway, not fatal */
	}

	/* Set maximum DTLS handshake retransmission timeout */
	ret = zsock_setsockopt(ctx->sock_fd, ZSOCK_SOL_TLS, ZSOCK_TLS_DTLS_HANDSHAKE_TIMEOUT_MAX,
			       &timeout_max, sizeof(timeout_max));
	if (ret < 0) {
		LOG_WRN("Failed to set DTLS handshake max timeout (errno=%d)", errno);
		/* Continue anyway, not fatal */
	}

	ret = zsock_getsockopt(ctx->sock_fd, ZSOCK_SOL_TLS, ZSOCK_TLS_DTLS_HANDSHAKE_TIMEOUT_MIN,
			       &applied_min, &optlen);
	if (ret < 0) {
		LOG_WRN("Failed to read DTLS handshake min timeout (errno=%d)", errno);
	}

	optlen = sizeof(uint32_t);
	ret = zsock_getsockopt(ctx->sock_fd, ZSOCK_SOL_TLS, ZSOCK_TLS_DTLS_HANDSHAKE_TIMEOUT_MAX,
			       &applied_max, &optlen);
	if (ret < 0) {
		LOG_WRN("Failed to read DTLS handshake max timeout (errno=%d)", errno);
	}

	if (applied_min > 0U || applied_max > 0U) {
		LOG_INF("Effective NTN DTLS handshake timeouts: min=%u ms, max=%u ms", applied_min,
			applied_max);
	}

	return 0;
}
#endif /* CONFIG_NET_SAMPLE_LWM2M_NTN_MODE */

static void observe_cb(enum lwm2m_observe_event event,
		       struct lwm2m_obj_path *path, void *user_data)
{
	char buf[LWM2M_MAX_PATH_STR_SIZE];

	switch (event) {

	case LWM2M_OBSERVE_EVENT_OBSERVER_ADDED:
		LOG_INF("Observer added for %s", lwm2m_path_log_buf(buf, path));
		break;

	case LWM2M_OBSERVE_EVENT_OBSERVER_REMOVED:
		LOG_INF("Observer removed for %s", lwm2m_path_log_buf(buf, path));
		break;

	case LWM2M_OBSERVE_EVENT_NOTIFY_ACK:
		LOG_INF("Notify acknowledged for %s", lwm2m_path_log_buf(buf, path));
		break;

	case LWM2M_OBSERVE_EVENT_NOTIFY_TIMEOUT:
		LOG_INF("Notify timeout for %s, trying registration update",
			lwm2m_path_log_buf(buf, path));

		lwm2m_rd_client_update();
		break;
	}
}

static void on_net_event_l4_disconnected(void)
{
	LOG_INF("Disconnected from network");
	lwm2m_engine_pause();
}

static void on_net_event_l4_connected(void)
{
	LOG_INF("Connected to network");
	k_sem_give(&network_connected_sem);
	lwm2m_engine_resume();
}

static void l4_event_handler(struct net_mgmt_event_callback *cb,
			     uint64_t event,
			     struct net_if *iface)
{
	switch (event) {
#if defined(CONFIG_NET_SAMPLE_LWM2M_WAIT_DNS)
	case NET_EVENT_DNS_SERVER_ADD:
#else
	case NET_EVENT_L4_CONNECTED:
#endif
		LOG_INF("IP Up");
		on_net_event_l4_connected();
		break;
	case NET_EVENT_L4_DISCONNECTED:
		LOG_INF("IP down");
		on_net_event_l4_disconnected();
		break;
	default:
		break;
	}
}

static void connectivity_event_handler(struct net_mgmt_event_callback *cb,
				       uint64_t event,
				       struct net_if *iface)
{
	if (event == NET_EVENT_CONN_IF_FATAL_ERROR) {
		LOG_ERR("Fatal error received from the connectivity layer");
		return;
	}
}

int main(void)
{
	uint32_t flags = IS_ENABLED(CONFIG_LWM2M_RD_CLIENT_SUPPORT_BOOTSTRAP) ?
				LWM2M_RD_CLIENT_FLAG_BOOTSTRAP : 0;
	int ret;

	LOG_INF(APP_BANNER);

	k_sem_init(&quit_lock, 0, K_SEM_MAX_LIMIT);

	if (IS_ENABLED(CONFIG_NET_CONNECTION_MANAGER)) {
		struct net_if *iface = net_if_get_default();

		if (!iface) {
			LOG_ERR("No network interface found!");
			return -ENODEV;
		}

		/* Setup handler for Zephyr NET Connection Manager events. */
		net_mgmt_init_event_callback(&l4_cb, l4_event_handler, L4_EVENT_MASK);
		net_mgmt_add_event_callback(&l4_cb);

		/* Setup handler for Zephyr NET Connection Manager Connectivity layer. */
		net_mgmt_init_event_callback(&conn_cb, connectivity_event_handler,
					     CONN_LAYER_EVENT_MASK);
		net_mgmt_add_event_callback(&conn_cb);

		ret = net_if_up(iface);

		if (ret < 0 && ret != -EALREADY) {
			LOG_ERR("net_if_up, error: %d", ret);
			return ret;
		}

		(void)conn_mgr_if_connect(iface);

		LOG_INF("Waiting for network connection...");
		k_sem_take(&network_connected_sem, K_FOREVER);
	}

	ret = lwm2m_setup();
	if (ret < 0) {
		LOG_ERR("Cannot setup LwM2M fields (%d)", ret);
		return 0;
	}

	(void)memset(&client_ctx, 0x0, sizeof(client_ctx));
#if defined(CONFIG_LWM2M_DTLS_SUPPORT)
	client_ctx.tls_tag = CONFIG_NET_SAMPLE_LWM2M_TLS_TAG;
#endif
	client_ctx.set_socket_state = socket_state;

#if defined(CONFIG_NET_SAMPLE_LWM2M_NTN_MODE)
	/* Use custom socket options for NTN high-latency connections */
	client_ctx.set_socketoptions = set_socketoptions_for_ntn;
	LOG_INF("NTN mode enabled - using extended timeouts");
#endif
	/* client_ctx.sec_obj_inst is 0 as a starting point */
	lwm2m_rd_client_start(&client_ctx, endpoint, flags, rd_client_event, observe_cb);

	k_sem_take(&quit_lock, K_FOREVER);
	return 0;
}
```

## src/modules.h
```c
/*
 * Copyright (c) 2022 Nordic Semiconductor
 *
 * SPDX-License-Identifier: Apache-2.0
 */

#ifndef _MODULES_H
#define _MODULES_H

int init_led_device(void);
void init_timer_object(void);
void init_temp_sensor(void);
void init_firmware_update(void);

#if defined(CONFIG_LWM2M_IPSO_HUMIDITY_SENSOR)
void init_humidity_sensor(void);
#endif

#endif
```

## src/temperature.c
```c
/*
 * Copyright (c) 2022 Nordic Semiconductor
 *
 * SPDX-License-Identifier: Apache-2.0
 */

#define LOG_MODULE_NAME app_temp
#include <zephyr/logging/log.h>
LOG_MODULE_REGISTER(LOG_MODULE_NAME);

#include "modules.h"

#include <zephyr/drivers/hwinfo.h>
#include <zephyr/drivers/sensor.h>
#include <zephyr/net/lwm2m.h>
#include <zephyr/net/lwm2m_send_scheduler.h>
#include <zephyr/kernel.h>
#include <zephyr/random/random.h>
#include <stdint.h>

static struct k_work_delayable temp_work;
#define PERIOD K_MINUTES(2)

/* Cache slots used by the send scheduler for the temperature sensor */
static uint8_t temp_cache[SYS_RINGQ_STORAGE_SIZE(sizeof(struct lwm2m_time_series_elem), 8)];

static void temp_work_cb(struct k_work *work)
{
	double v;

	if (IS_ENABLED(CONFIG_FXOS8700_TEMP)) {
		const struct device *dev = device_get_binding("nxp_fxos8700");
		struct sensor_value val;

		if (!dev) {
			LOG_ERR("device not ready.");
			goto out;
		}
		if (sensor_sample_fetch(dev)) {
			LOG_ERR("temperature data update failed");
			goto out;
		}

		sensor_channel_get(dev, SENSOR_CHAN_DIE_TEMP, &val);

		v = sensor_value_to_double(&val);
	} else {
		/* Generate dummy temperature data */
		v = 20.0 + (double)sys_rand32_get() / UINT32_MAX * 5.0;
	}

	lwm2m_set_f64(&LWM2M_OBJ(3303, 0, 5700), v);

out:
	k_work_schedule(&temp_work, PERIOD);
}

void init_temp_sensor(void)
{
	if (lwm2m_create_object_inst(&LWM2M_OBJ(3303, 0)) == 0) {
		if (IS_ENABLED(CONFIG_LWM2M_RESOURCE_DATA_CACHE_SUPPORT)) {
			int ret;

			ret = lwm2m_enable_cache(&LWM2M_OBJ(3303, 0, 5700), temp_cache,
						 sizeof(temp_cache));
			if (ret < 0) {
				LOG_WRN("Failed to enable cache for temp sensor (%d)", ret);
			}

			if (IS_ENABLED(CONFIG_LWM2M_SEND_SCHEDULER)) {
				lwm2m_set_cache_filter(&LWM2M_OBJ(3303, 0, 5700),
						       lwm2m_send_sched_cache_filter);
			}
		}

		k_work_init_delayable(&temp_work, temp_work_cb);
		k_work_schedule(&temp_work, K_NO_WAIT);
	}
}
```

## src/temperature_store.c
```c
#include <zephyr/logging/log.h>
LOG_MODULE_DECLARE(app_temp);

#include "temperature_store.h"

/* Simple ring buffer implementation to show application storage for
 * LwM2M time series.
 */

struct temperature_rw_ctx temperature_rw_ctx;

size_t temperature_size_cb(void *ctx)
{
	struct temperature_rw_ctx *rw_ctx = (struct temperature_rw_ctx*)ctx;
	return (TEMPERATURE_DATA_BUF_SIZE + rw_ctx->write_index - rw_ctx->read_index) % TEMPERATURE_DATA_BUF_SIZE;
}

bool temperature_write_cb(void *ctx, struct lwm2m_time_series_elem *buf)
{
	struct temperature_rw_ctx *rw_ctx = (struct temperature_rw_ctx*)ctx;

	LOG_INF("Write temperature data (t=%lld, v=%f) at index %d", buf->t, buf->f, rw_ctx->write_index);
	memcpy(&rw_ctx->data[rw_ctx->write_index], buf, sizeof(struct lwm2m_time_series_elem));

	if (((rw_ctx->write_index + 1) % TEMPERATURE_DATA_BUF_SIZE) == rw_ctx->read_index) {
		/* Buffer is full, drop oldest */
		rw_ctx->read_index = (rw_ctx->read_index + 1) % TEMPERATURE_DATA_BUF_SIZE;
	}
	rw_ctx->write_index = (rw_ctx->write_index + 1) % TEMPERATURE_DATA_BUF_SIZE;

	return true;
}

void temperature_read_begin_cb(void *ctx)
{
	struct temperature_rw_ctx *read_ctx = (struct temperature_rw_ctx*)ctx;
	read_ctx->temp_read_index = read_ctx->read_index;
}

bool temperature_read_next_cb(void *ctx, struct lwm2m_time_series_elem *buf)
{
	struct temperature_rw_ctx *rw_ctx = (struct temperature_rw_ctx*)ctx;

	buf->t = rw_ctx->data[rw_ctx->read_index].t;
	buf->f = rw_ctx->data[rw_ctx->read_index].f;
	rw_ctx->read_index = (rw_ctx->read_index + 1) % TEMPERATURE_DATA_BUF_SIZE;

	return true;
}

void temperature_read_end_cb(void *ctx, bool success)
{
	struct temperature_rw_ctx *read_ctx = (struct temperature_rw_ctx*)ctx;
	if (!success) {
		read_ctx->read_index = read_ctx->temp_read_index;
	}

	LOG_INF("Read end, up to index %d returned %d",
	        (TEMPERATURE_DATA_BUF_SIZE + read_ctx->read_index - 1) % TEMPERATURE_DATA_BUF_SIZE,
	        success);
}

void temperature_read_reply_cb(void *ctx, bool timeout, uint8_t reply)
{
	struct temperature_rw_ctx *read_ctx = (struct temperature_rw_ctx*)ctx;
	LOG_INF("Read acked, up to index %d, got reply %d (timeout=%d)",
	        (TEMPERATURE_DATA_BUF_SIZE + read_ctx->read_index - 1) % TEMPERATURE_DATA_BUF_SIZE,
	        reply, timeout);
}
```

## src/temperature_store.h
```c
#ifndef TEMPERATURE_STORE_H
#define TEMPERATURE_STORE_H

#include <zephyr/net/lwm2m.h>

#define TEMPERATURE_DATA_BUF_SIZE       (50 + 1)

struct temperature_rw_ctx {
	struct lwm2m_time_series_elem data[TEMPERATURE_DATA_BUF_SIZE];
	int read_index;
	int write_index;
	int temp_read_index;
};

extern struct temperature_rw_ctx temperature_rw_ctx;

size_t temperature_size_cb(void *ctx);
bool temperature_write_cb(void *ctx, struct lwm2m_time_series_elem *buf);
void temperature_read_begin_cb(void *ctx);
bool temperature_read_next_cb(void *ctx, struct lwm2m_time_series_elem *buf);
void temperature_read_end_cb(void *ctx, bool success);
void temperature_read_reply_cb(void *ctx, bool timeout, uint8_t reply);

#endif /* TEMPERATURE_STORE_H */
```

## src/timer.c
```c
/*
 * Copyright (c) 2022 Nordic Semiconductor
 *
 * SPDX-License-Identifier: Apache-2.0
 */

#define LOG_MODULE_NAME app_timer
#include <zephyr/logging/log.h>
LOG_MODULE_REGISTER(LOG_MODULE_NAME);

#include "modules.h"

#include <zephyr/net/lwm2m.h>

#define TIMER_NAME "Test timer"

/* An example data validation callback. */
static int timer_on_off_validate_cb(uint16_t obj_inst_id, uint16_t res_id, uint16_t res_inst_id,
				    uint8_t *data, uint16_t data_len, bool last_block,
				    size_t total_size, size_t offset)
{
	LOG_INF("Validating On/Off data");

	if (data_len != 1) {
		return -EINVAL;
	}

	if (*data > 1) {
		return -EINVAL;
	}

	return 0;
}

static int timer_digital_state_cb(uint16_t obj_inst_id, uint16_t res_id, uint16_t res_inst_id,
				  uint8_t *data, uint16_t data_len, bool last_block,
				  size_t total_size, size_t offset)
{
	bool *digital_state = (bool *)data;

	if (*digital_state) {
		LOG_INF("TIMER: ON");
	} else {
		LOG_INF("TIMER: OFF");
	}

	return 0;
}

void init_timer_object(void)
{
	lwm2m_create_object_inst(&LWM2M_OBJ(3340, 0));
	lwm2m_register_validate_callback(&LWM2M_OBJ(3340, 0, 5850), timer_on_off_validate_cb);
	lwm2m_register_post_write_callback(&LWM2M_OBJ(3340, 0, 5543), timer_digital_state_cb);
	lwm2m_set_res_buf(&LWM2M_OBJ(3340, 0, 5750), TIMER_NAME, sizeof(TIMER_NAME),
			  sizeof(TIMER_NAME), LWM2M_RES_DATA_FLAG_RO);
}
```
